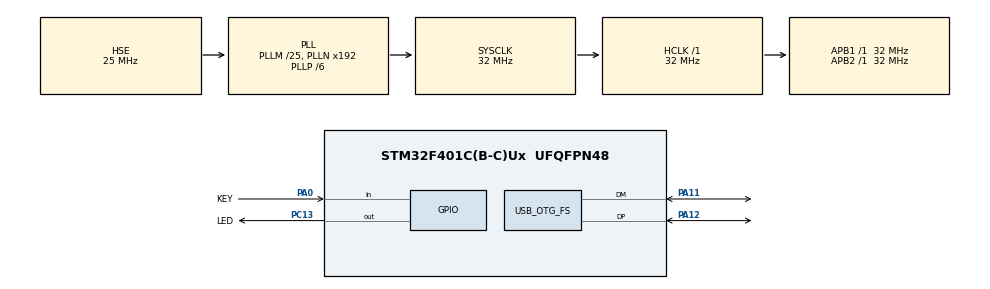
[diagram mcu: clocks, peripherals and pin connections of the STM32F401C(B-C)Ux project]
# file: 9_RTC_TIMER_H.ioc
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Mcu.Family=STM32F4
Mcu.Name=STM32F401C(B-C)Ux
Mcu.Package=UFQFPN48
NVIC.OTG_FS_IRQn=true\:0\:0\:false\:false\:true\:false\:true
NVIC.PriorityGroup=NVIC_PRIORITYGROUP_4
PA0-WKUP.GPIO_Label=KEY
PA0-WKUP.GPIO_PuPd=GPIO_PULLUP
PA0-WKUP.Signal=GPIO_Input
PA11.Mode=Device_Only
PA11.Signal=USB_OTG_FS_DM
PA12.Mode=Device_Only
PA12.Signal=USB_OTG_FS_DP
PA13.Mode=Serial_Wire
PA13.Signal=SYS_JTMS-SWDIO
PA14.Mode=Serial_Wire
PA14.Signal=SYS_JTCK-SWCLK
PC13-ANTI_TAMP.GPIO_Label=LED
PC13-ANTI_TAMP.PinState=GPIO_PIN_SET
PC13-ANTI_TAMP.Signal=GPIO_Output
PC14-OSC32_IN.Mode=LSE-External-Oscillator
PC14-OSC32_IN.Signal=RCC_OSC32_IN
PC15-OSC32_OUT.Mode=LSE-External-Oscillator
PC15-OSC32_OUT.Signal=RCC_OSC32_OUT
PH0\ -\ OSC_IN.Mode=HSE-External-Oscillator
PH0\ -\ OSC_IN.Signal=RCC_OSC_IN
PH1\ -\ OSC_OUT.Mode=HSE-External-Oscillator
PH1\ -\ OSC_OUT.Signal=RCC_OSC_OUT
ProjectManager.HeapSize=0x200
ProjectManager.StackSize=0x400
ProjectManager.TargetToolchain=STM32CubeIDE
RCC.48MHZClocksFreq_Value=48000000
RCC.AHBFreq_Value=32000000
RCC.APB1Freq_Value=32000000
RCC.APB1TimFreq_Value=32000000
RCC.APB2Freq_Value=32000000
RCC.APB2TimFreq_Value=32000000
RCC.CortexFreq_Value=32000000
RCC.HCLKFreq_Value=32000000
RCC.HSE_VALUE=25000000
RCC.HSI_VALUE=16000000
RCC.PLLM=25
RCC.PLLP=RCC_PLLP_DIV6
RCC.RCC_RTC_Clock_Source=RCC_RTCCLKSOURCE_LSE
RCC.RCC_RTC_Clock_SourceVirtual=RCC_RTCCLKSOURCE_LSE
RCC.SYSCLKFreq_VALUE=32000000
RCC.SYSCLKSource=RCC_SYSCLKSOURCE_PLLCLK
RCC.VCOOutputFreq_Value=192000000
RTC.Date=18
RTC.Hours=12
RTC.Month=RTC_MONTH_FEBRUARY
RTC.WeekDay=RTC_WEEKDAY_FRIDAY
RTC.Year=22
USB_DEVICE.CLASS_NAME_FS=CDC
USB_DEVICE.VirtualMode=Cdc
USB_DEVICE.VirtualModeFS=Cdc_FS
USB_OTG_FS.VirtualMode=Device_Only
VP_RTC_VS_RTC_Activate.Mode=RTC_Enabled
VP_RTC_VS_RTC_Calendar.Mode=RTC_Calendar
VP_USB_DEVICE_VS_USB_DEVICE_CDC_FS.Mode=CDC_FS
board=custom

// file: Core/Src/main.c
/* USER CODE BEGIN Header */
/**
  ******************************************************************************
  * @file           : main.c
  * @brief          : Main program body
  ******************************************************************************
  * @attention
  *
  * Copyright (c) 2022 STMicroelectronics.
  * All rights reserved.
  *
  * This software is licensed under terms that can be found in the LICENSE file
  * in the root directory of this software component.
  * If no LICENSE file comes with this software, it is provided AS-IS.
  *
  ******************************************************************************
  */
/* USER CODE END Header */
#include "main.h"
#include "rtc.h"
#include "usb_device.h"
#include "gpio.h"

/* USER CODE BEGIN PV */
char showTime[30] = {0};
uint8_t sFlag = RESET;
/* USER CODE END PV */

void SystemClock_Config(void);

/* USER CODE BEGIN 0 */
void get_time(void)
{
	RTC_DateTypeDef sDate;
	RTC_TimeTypeDef sTime;

	HAL_RTC_GetDate(&hrtc, &sDate, RTC_FORMAT_BIN);
	HAL_RTC_GetTime(&hrtc, &sTime, RTC_FORMAT_BIN);

	sprintf((char *)showTime, "%04d-%02d-%02d %02d:%02d:%02d\r\n", sDate.Year + 2000, sDate.Month, sDate.Date, sTime.Hours, sTime.Minutes, sTime.Seconds);
}

void HAL_IncTick(void)
{
	uwTick += uwTickFreq;

	if ((uwTick % 1000) == 0) {
		sFlag = SET;
	}
}
/* USER CODE END 0 */

int main(void)
{

  /* MCU Configuration--------------------------------------------------------*/

  /* Reset of all peripherals, Initializes the Flash interface and the Systick. */
  HAL_Init();

  /* Configure the system clock */
  SystemClock_Config();

  /* Initialize all configured peripherals */
  MX_GPIO_Init();
  MX_RTC_Init();
  MX_USB_DEVICE_Init();

  /* Infinite loop */
  /* USER CODE BEGIN WHILE */
  while (1)
  {
	  get_time();

	  if (sFlag) {
		  sFlag = RESET;
		  while (CDC_Transmit_FS(showTime, strlen(showTime)) == USBD_OK) {}
	  }

	  __NOP();
    /* USER CODE END WHILE */

  }
}

void SystemClock_Config(void)
{
  RCC_OscInitTypeDef RCC_OscInitStruct = {0};
  RCC_ClkInitTypeDef RCC_ClkInitStruct = {0};

  /** Configure the main internal regulator output voltage
  */
  __HAL_RCC_PWR_CLK_ENABLE();
  __HAL_PWR_VOLTAGESCALING_CONFIG(PWR_REGULATOR_VOLTAGE_SCALE2);
  /** Initializes the RCC Oscillators according to the specified parameters
  * in the RCC_OscInitTypeDef structure.
  */
  RCC_OscInitStruct.OscillatorType = RCC_OSCILLATORTYPE_HSE|RCC_OSCILLATORTYPE_LSE;
  RCC_OscInitStruct.HSEState = RCC_HSE_ON;
  RCC_OscInitStruct.LSEState = RCC_LSE_ON;
  RCC_OscInitStruct.PLL.PLLState = RCC_PLL_ON;
  RCC_OscInitStruct.PLL.PLLSource = RCC_PLLSOURCE_HSE;
  RCC_OscInitStruct.PLL.PLLM = 25;
  RCC_OscInitStruct.PLL.PLLN = 192;
  RCC_OscInitStruct.PLL.PLLP = RCC_PLLP_DIV6;
  RCC_OscInitStruct.PLL.PLLQ = 4;
  if (HAL_RCC_OscConfig(&RCC_OscInitStruct) != HAL_OK)
  {
    Error_Handler();
  }
  /** Initializes the CPU, AHB and APB buses clocks
  */
  RCC_ClkInitStruct.ClockType = RCC_CLOCKTYPE_HCLK|RCC_CLOCKTYPE_SYSCLK
                              |RCC_CLOCKTYPE_PCLK1|RCC_CLOCKTYPE_PCLK2;
  RCC_ClkInitStruct.SYSCLKSource = RCC_SYSCLKSOURCE_PLLCLK;
  RCC_ClkInitStruct.AHBCLKDivider = RCC_SYSCLK_DIV1;
  RCC_ClkInitStruct.APB1CLKDivider = RCC_HCLK_DIV1;
  RCC_ClkInitStruct.APB2CLKDivider = RCC_HCLK_DIV1;

  if (HAL_RCC_ClockConfig(&RCC_ClkInitStruct, FLASH_LATENCY_1) != HAL_OK)
  {
    Error_Handler();
  }
}

void Error_Handler(void)
{
  __disable_irq();
  while (1)
  {
  }
}
